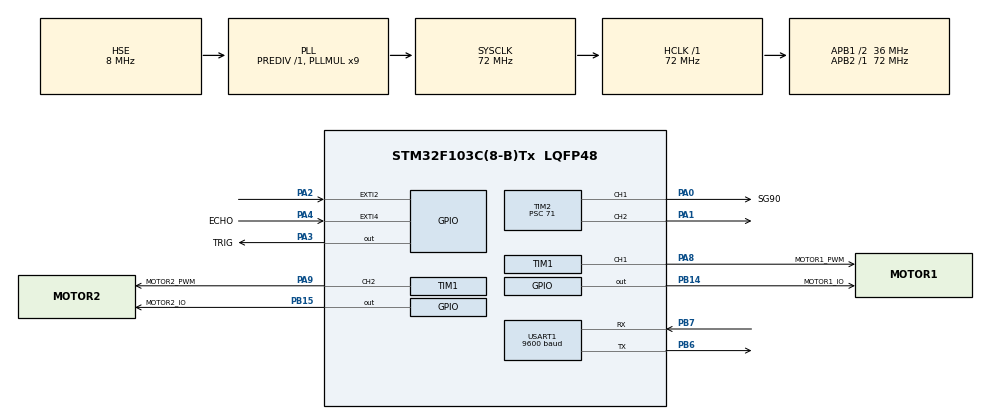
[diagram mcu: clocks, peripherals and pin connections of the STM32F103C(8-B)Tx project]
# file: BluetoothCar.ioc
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Mcu.Family=STM32F1
Mcu.Name=STM32F103C(8-B)Tx
Mcu.Package=LQFP48
NVIC.EXTI4_IRQn=true\:0\:0\:false\:false\:true\:true\:true\:true
NVIC.PriorityGroup=NVIC_PRIORITYGROUP_4
NVIC.USART1_IRQn=true\:1\:0\:true\:false\:true\:true\:true\:true
PA0-WKUP.GPIO_Label=SG90
PA0-WKUP.Signal=S_TIM2_CH1_ETR
PA1.Signal=S_TIM2_CH2
PA13.Mode=Serial_Wire
PA13.Signal=SYS_JTMS-SWDIO
PA14.Mode=Serial_Wire
PA14.Signal=SYS_JTCK-SWCLK
PA2.Signal=GPXTI2
PA3.GPIO_Label=TRIG
PA3.GPIO_PuPd=GPIO_NOPULL
PA3.GPIO_Speed=GPIO_SPEED_FREQ_LOW
PA3.PinState=GPIO_PIN_RESET
PA3.Signal=GPIO_Output
PA4.GPIO_Label=ECHO
PA4.GPIO_ModeDefaultEXTI=GPIO_MODE_IT_RISING_FALLING
PA4.GPIO_PuPd=GPIO_PULLUP
PA4.Signal=GPXTI4
PA8.GPIO_Label=MOTOR1_PWM
PA8.Signal=S_TIM1_CH1
PA9.GPIO_Label=MOTOR2_PWM
PA9.Signal=S_TIM1_CH2
PB14.GPIO_Label=MOTOR1_IO
PB14.Signal=GPIO_Output
PB15.GPIO_Label=MOTOR2_IO
PB15.Signal=GPIO_Output
PB6.Mode=Asynchronous
PB6.Signal=USART1_TX
PB7.Mode=Asynchronous
PB7.Signal=USART1_RX
PD0-OSC_IN.Mode=HSE-External-Oscillator
PD0-OSC_IN.Signal=RCC_OSC_IN
PD1-OSC_OUT.Mode=HSE-External-Oscillator
PD1-OSC_OUT.Signal=RCC_OSC_OUT
ProjectManager.HeapSize=0x200
ProjectManager.StackSize=0x400
ProjectManager.TargetToolchain=MDK-ARM V5.32
RCC.AHBFreq_Value=72000000
RCC.APB1CLKDivider=RCC_HCLK_DIV2
RCC.APB1Freq_Value=36000000
RCC.APB1TimFreq_Value=72000000
RCC.APB2Freq_Value=72000000
RCC.APB2TimFreq_Value=72000000
RCC.HCLKFreq_Value=72000000
RCC.PLLMUL=RCC_PLL_MUL9
RCC.PLLSourceVirtual=RCC_PLLSOURCE_HSE
RCC.SYSCLKFreq_VALUE=72000000
RCC.SYSCLKSource=RCC_SYSCLKSOURCE_PLLCLK
RCC.USBFreq_Value=72000000
SH.S_TIM1_CH1.0=TIM1_CH1,PWM Generation1 CH1
SH.S_TIM1_CH2.0=TIM1_CH2,PWM Generation2 CH2
SH.S_TIM2_CH1_ETR.0=TIM2_CH1,PWM Generation1 CH1
SH.S_TIM2_CH2.0=TIM2_CH2,PWM Generation2 CH2
TIM1.Channel-PWM\ Generation1\ CH1=TIM_CHANNEL_1
TIM1.Channel-PWM\ Generation2\ CH2=TIM_CHANNEL_2
TIM1.Period=999
TIM1.Prescaler=71
TIM2.Channel-PWM\ Generation1\ CH1=TIM_CHANNEL_1
TIM2.Channel-PWM\ Generation2\ CH2=TIM_CHANNEL_2
TIM2.Period=19999
TIM2.Prescaler=71
TIM3.AutoReloadPreload=TIM_AUTORELOAD_PRELOAD_DISABLE
TIM3.Period=65535
TIM3.Prescaler=71
USART1.BaudRate=9600
USART1.VirtualMode=VM_ASYNC
VP_TIM1_VS_ClockSourceINT.Mode=Internal
VP_TIM2_VS_ClockSourceINT.Mode=Internal
VP_TIM3_VS_ClockSourceINT.Mode=Internal
board=custom

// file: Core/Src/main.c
/* USER CODE BEGIN Header */
/**
  ******************************************************************************
  * @file           : main.c
  * @brief          : Main program body
  ******************************************************************************
  * @attention
  *
  * <h2><center>&copy; Copyright (c) 2022 STMicroelectronics.
  * All rights reserved.</center></h2>
  *
  * This software component is licensed by ST under BSD 3-Clause license,
  * the "License"; You may not use this file except in compliance with the
  * License. You may obtain a copy of the License at:
  *                        opensource.org/licenses/BSD-3-Clause
  *
  ******************************************************************************
  */
/* USER CODE END Header */
#include "main.h"

/* USER CODE BEGIN Includes */
#include "Car.h"
#include "servo.h"
#include "ultrasonic.h"

/* USER CODE END Includes */

TIM_HandleTypeDef htim1;
TIM_HandleTypeDef htim2;
TIM_HandleTypeDef htim3;

UART_HandleTypeDef huart1;

void SystemClock_Config(void);
static void MX_GPIO_Init(void);
static void MX_TIM1_Init(void);
static void MX_USART1_UART_Init(void);
static void MX_TIM2_Init(void);
static void MX_TIM3_Init(void);

/* USER CODE BEGIN 0 */
float Distance;

uint8_t data_rx;
uint8_t data_rxC = 'G';
uint8_t uart_flag = 0;
uint8_t car_speed = 75;

float distanceSafe = 25;
float distanceRight;
float distanceLeft;

void HAL_UART_RxCpltCallback(UART_HandleTypeDef *huart)
{
	if(huart->Instance == huart1.Instance)
	{
		uart_flag = 1;
		HAL_UART_Receive_IT(&huart1,&data_rx,1);
		if (data_rx == 'G') data_rxC = 'G';
		if (data_rx == 'H') data_rxC = 'H';
		if (data_rx == 'I') data_rxC = 'I';
	}
}

/* USER CODE END 0 */

int main(void)
{

  /* MCU Configuration--------------------------------------------------------*/

  /* Reset of all peripherals, Initializes the Flash interface and the Systick. */
  HAL_Init();

  /* Configure the system clock */
  SystemClock_Config();

  /* Initialize all configured peripherals */
  MX_GPIO_Init();
  MX_TIM1_Init();
  MX_USART1_UART_Init();
  MX_TIM2_Init();
  MX_TIM3_Init();
  /* USER CODE BEGIN 2 */
	car_init(&htim1);
	HAL_UART_Receive_IT(&huart1,&data_rx,1);

	Servo sv;
	servo_init(&sv,&htim2,TIM_CHANNEL_1);

  /* USER CODE END 2 */

  /* Infinite loop */
  while (1)
  {

    /* USER CODE BEGIN 3 */

		while (data_rxC == 'G') car_control(CAR_STOP_STATE, 0); // waiting state
		while (data_rxC == 'I')
		{
			if(uart_flag)
			{
				switch(data_rx)
				{
					case 'S':
						car_control(CAR_STOP_STATE,0);
						break;
					case 'F':
						car_control(CAR_FORWARD_STATE,car_speed);
						break;
					case 'B':
						car_control(CAR_BACKWARD_STATE,car_speed);
						break;
					case 'L':
						car_control(CAR_LEFT_STATE,car_speed);
						break;
					case 'R':
						car_control(CAR_RIGHT_STATE,car_speed);
						break;
					default:
						if(data_rx >= '0' && data_rx <= '9')
						{
							//0 ->90
							car_speed = (data_rx - '0')*10;
						}
						else if(data_rx =='q')
						{
							car_speed = 100;
						}
						break;

				}
				uart_flag = 0;
			}
		}
		while (data_rxC == 'H')
		{
			Distance = UltrasonicDetect();
			if (Distance > distanceSafe)
				car_control(CAR_FORWARD_STATE, car_speed);
			else
			{
				car_control(CAR_STOP_STATE, 0);
				HAL_Delay(10);
				servo_write(&sv, 45);
				HAL_Delay(1000);
				distanceLeft = UltrasonicDetect();

				servo_write(&sv, 135);
				HAL_Delay(1000);
				distanceRight = UltrasonicDetect();

				servo_write(&sv, 90);

				if ((distanceLeft > distanceRight) && (distanceLeft > distanceSafe))
				{
					car_control(CAR_LEFT_STATE, 100);
					HAL_Delay(500);
				}
				else if ((distanceLeft < distanceRight) && (distanceRight > distanceSafe))
				{
					car_control(CAR_RIGHT_STATE, 100);
					HAL_Delay(500);
				}
				else
				{
					car_control(CAR_BACKWARD_STATE, 75);
					HAL_Delay(500);
				}

				car_control(CAR_STOP_STATE, 0);
				HAL_Delay(50);
			}
		}
  }
  /* USER CODE END 3 */
}

void SystemClock_Config(void)
{
  RCC_OscInitTypeDef RCC_OscInitStruct = {0};
  RCC_ClkInitTypeDef RCC_ClkInitStruct = {0};

  /** Initializes the RCC Oscillators according to the specified parameters
  * in the RCC_OscInitTypeDef structure.
  */
  RCC_OscInitStruct.OscillatorType = RCC_OSCILLATORTYPE_HSE;
  RCC_OscInitStruct.HSEState = RCC_HSE_ON;
  RCC_OscInitStruct.HSEPredivValue = RCC_HSE_PREDIV_DIV1;
  RCC_OscInitStruct.HSIState = RCC_HSI_ON;
  RCC_OscInitStruct.PLL.PLLState = RCC_PLL_ON;
  RCC_OscInitStruct.PLL.PLLSource = RCC_PLLSOURCE_HSE;
  RCC_OscInitStruct.PLL.PLLMUL = RCC_PLL_MUL9;
  if (HAL_RCC_OscConfig(&RCC_OscInitStruct) != HAL_OK)
  {
    Error_Handler();
  }
  /** Initializes the CPU, AHB and APB buses clocks
  */
  RCC_ClkInitStruct.ClockType = RCC_CLOCKTYPE_HCLK|RCC_CLOCKTYPE_SYSCLK
                              |RCC_CLOCKTYPE_PCLK1|RCC_CLOCKTYPE_PCLK2;
  RCC_ClkInitStruct.SYSCLKSource = RCC_SYSCLKSOURCE_PLLCLK;
  RCC_ClkInitStruct.AHBCLKDivider = RCC_SYSCLK_DIV1;
  RCC_ClkInitStruct.APB1CLKDivider = RCC_HCLK_DIV2;
  RCC_ClkInitStruct.APB2CLKDivider = RCC_HCLK_DIV1;

  if (HAL_RCC_ClockConfig(&RCC_ClkInitStruct, FLASH_LATENCY_2) != HAL_OK)
  {
    Error_Handler();
  }
}

static void MX_TIM1_Init(void)
{

  TIM_ClockConfigTypeDef sClockSourceConfig = {0};
  TIM_MasterConfigTypeDef sMasterConfig = {0};
  TIM_OC_InitTypeDef sConfigOC = {0};
  TIM_BreakDeadTimeConfigTypeDef sBreakDeadTimeConfig = {0};

  htim1.Instance = TIM1;
  htim1.Init.Prescaler = 71;
  htim1.Init.CounterMode = TIM_COUNTERMODE_UP;
  htim1.Init.Period = 999;
  htim1.Init.ClockDivision = TIM_CLOCKDIVISION_DIV1;
  htim1.Init.RepetitionCounter = 0;
  htim1.Init.AutoReloadPreload = TIM_AUTORELOAD_PRELOAD_DISABLE;
  if (HAL_TIM_Base_Init(&htim1) != HAL_OK)
  {
    Error_Handler();
  }
  sClockSourceConfig.ClockSource = TIM_CLOCKSOURCE_INTERNAL;
  if (HAL_TIM_ConfigClockSource(&htim1, &sClockSourceConfig) != HAL_OK)
  {
    Error_Handler();
  }
  if (HAL_TIM_PWM_Init(&htim1) != HAL_OK)
  {
    Error_Handler();
  }
  sMasterConfig.MasterOutputTrigger = TIM_TRGO_RESET;
  sMasterConfig.MasterSlaveMode = TIM_MASTERSLAVEMODE_DISABLE;
  if (HAL_TIMEx_MasterConfigSynchronization(&htim1, &sMasterConfig) != HAL_OK)
  {
    Error_Handler();
  }
  sConfigOC.OCMode = TIM_OCMODE_PWM1;
  sConfigOC.Pulse = 0;
  sConfigOC.OCPolarity = TIM_OCPOLARITY_HIGH;
  sConfigOC.OCNPolarity = TIM_OCNPOLARITY_HIGH;
  sConfigOC.OCFastMode = TIM_OCFAST_DISABLE;
  sConfigOC.OCIdleState = TIM_OCIDLESTATE_RESET;
  sConfigOC.OCNIdleState = TIM_OCNIDLESTATE_RESET;
  if (HAL_TIM_PWM_ConfigChannel(&htim1, &sConfigOC, TIM_CHANNEL_1) != HAL_OK)
  {
    Error_Handler();
  }
  if (HAL_TIM_PWM_ConfigChannel(&htim1, &sConfigOC, TIM_CHANNEL_2) != HAL_OK)
  {
    Error_Handler();
  }
  sBreakDeadTimeConfig.OffStateRunMode = TIM_OSSR_DISABLE;
  sBreakDeadTimeConfig.OffStateIDLEMode = TIM_OSSI_DISABLE;
  sBreakDeadTimeConfig.LockLevel = TIM_LOCKLEVEL_OFF;
  sBreakDeadTimeConfig.DeadTime = 0;
  sBreakDeadTimeConfig.BreakState = TIM_BREAK_DISABLE;
  sBreakDeadTimeConfig.BreakPolarity = TIM_BREAKPOLARITY_HIGH;
  sBreakDeadTimeConfig.AutomaticOutput = TIM_AUTOMATICOUTPUT_DISABLE;
  if (HAL_TIMEx_ConfigBreakDeadTime(&htim1, &sBreakDeadTimeConfig) != HAL_OK)
  {
    Error_Handler();
  }
  HAL_TIM_MspPostInit(&htim1);

}

static void MX_TIM2_Init(void)
{

  TIM_ClockConfigTypeDef sClockSourceConfig = {0};
  TIM_MasterConfigTypeDef sMasterConfig = {0};
  TIM_OC_InitTypeDef sConfigOC = {0};

  htim2.Instance = TIM2;
  htim2.Init.Prescaler = 71;
  htim2.Init.CounterMode = TIM_COUNTERMODE_UP;
  htim2.Init.Period = 19999;
  htim2.Init.ClockDivision = TIM_CLOCKDIVISION_DIV1;
  htim2.Init.AutoReloadPreload = TIM_AUTORELOAD_PRELOAD_DISABLE;
  if (HAL_TIM_Base_Init(&htim2) != HAL_OK)
  {
    Error_Handler();
  }
  sClockSourceConfig.ClockSource = TIM_CLOCKSOURCE_INTERNAL;
  if (HAL_TIM_ConfigClockSource(&htim2, &sClockSourceConfig) != HAL_OK)
  {
    Error_Handler();
  }
  if (HAL_TIM_PWM_Init(&htim2) != HAL_OK)
  {
    Error_Handler();
  }
  sMasterConfig.MasterOutputTrigger = TIM_TRGO_RESET;
  sMasterConfig.MasterSlaveMode = TIM_MASTERSLAVEMODE_DISABLE;
  if (HAL_TIMEx_MasterConfigSynchronization(&htim2, &sMasterConfig) != HAL_OK)
  {
    Error_Handler();
  }
  sConfigOC.OCMode = TIM_OCMODE_PWM1;
  sConfigOC.Pulse = 0;
  sConfigOC.OCPolarity = TIM_OCPOLARITY_HIGH;
  sConfigOC.OCFastMode = TIM_OCFAST_DISABLE;
  if (HAL_TIM_PWM_ConfigChannel(&htim2, &sConfigOC, TIM_CHANNEL_1) != HAL_OK)
  {
    Error_Handler();
  }
  if (HAL_TIM_PWM_ConfigChannel(&htim2, &sConfigOC, TIM_CHANNEL_2) != HAL_OK)
  {
    Error_Handler();
  }
  HAL_TIM_MspPostInit(&htim2);

}

static void MX_TIM3_Init(void)
{

  TIM_ClockConfigTypeDef sClockSourceConfig = {0};
  TIM_MasterConfigTypeDef sMasterConfig = {0};

  htim3.Instance = TIM3;
  htim3.Init.Prescaler = 71;
  htim3.Init.CounterMode = TIM_COUNTERMODE_UP;
  htim3.Init.Period = 65535;
  htim3.Init.ClockDivision = TIM_CLOCKDIVISION_DIV1;
  htim3.Init.AutoReloadPreload = TIM_AUTORELOAD_PRELOAD_DISABLE;
  if (HAL_TIM_Base_Init(&htim3) != HAL_OK)
  {
    Error_Handler();
  }
  sClockSourceConfig.ClockSource = TIM_CLOCKSOURCE_INTERNAL;
  if (HAL_TIM_ConfigClockSource(&htim3, &sClockSourceConfig) != HAL_OK)
  {
    Error_Handler();
  }
  sMasterConfig.MasterOutputTrigger = TIM_TRGO_RESET;
  sMasterConfig.MasterSlaveMode = TIM_MASTERSLAVEMODE_DISABLE;
  if (HAL_TIMEx_MasterConfigSynchronization(&htim3, &sMasterConfig) != HAL_OK)
  {
    Error_Handler();
  }

}

static void MX_USART1_UART_Init(void)
{

  huart1.Instance = USART1;
  huart1.Init.BaudRate = 9600;
  huart1.Init.WordLength = UART_WORDLENGTH_8B;
  huart1.Init.StopBits = UART_STOPBITS_1;
  huart1.Init.Parity = UART_PARITY_NONE;
  huart1.Init.Mode = UART_MODE_TX_RX;
  huart1.Init.HwFlowCtl = UART_HWCONTROL_NONE;
  huart1.Init.OverSampling = UART_OVERSAMPLING_16;
  if (HAL_UART_Init(&huart1) != HAL_OK)
  {
    Error_Handler();
  }

}

static void MX_GPIO_Init(void)
{
  GPIO_InitTypeDef GPIO_InitStruct = {0};

  /* GPIO Ports Clock Enable */
  __HAL_RCC_GPIOD_CLK_ENABLE();
  __HAL_RCC_GPIOA_CLK_ENABLE();
  __HAL_RCC_GPIOB_CLK_ENABLE();

  /*Configure GPIO pin Output Level */
  HAL_GPIO_WritePin(TRIG_GPIO_Port, TRIG_Pin, GPIO_PIN_RESET);

  /*Configure GPIO pin Output Level */
  HAL_GPIO_WritePin(GPIOB, MOTOR1_IO_Pin|MOTOR2_IO_Pin, GPIO_PIN_RESET);

  /*Configure GPIO pin : PA2 */
  GPIO_InitStruct.Pin = GPIO_PIN_2;
  GPIO_InitStruct.Mode = GPIO_MODE_IT_RISING;
  GPIO_InitStruct.Pull = GPIO_NOPULL;
  HAL_GPIO_Init(GPIOA, &GPIO_InitStruct);

  /*Configure GPIO pin : TRIG_Pin */
  GPIO_InitStruct.Pin = TRIG_Pin;
  GPIO_InitStruct.Mode = GPIO_MODE_OUTPUT_PP;
  GPIO_InitStruct.Pull = GPIO_NOPULL;
  GPIO_InitStruct.Speed = GPIO_SPEED_FREQ_LOW;
  HAL_GPIO_Init(TRIG_GPIO_Port, &GPIO_InitStruct);

  /*Configure GPIO pin : ECHO_Pin */
  GPIO_InitStruct.Pin = ECHO_Pin;
  GPIO_InitStruct.Mode = GPIO_MODE_IT_RISING_FALLING;
  GPIO_InitStruct.Pull = GPIO_PULLUP;
  HAL_GPIO_Init(ECHO_GPIO_Port, &GPIO_InitStruct);

  /*Configure GPIO pins : MOTOR1_IO_Pin MOTOR2_IO_Pin */
  GPIO_InitStruct.Pin = MOTOR1_IO_Pin|MOTOR2_IO_Pin;
  GPIO_InitStruct.Mode = GPIO_MODE_OUTPUT_PP;
  GPIO_InitStruct.Pull = GPIO_NOPULL;
  GPIO_InitStruct.Speed = GPIO_SPEED_FREQ_LOW;
  HAL_GPIO_Init(GPIOB, &GPIO_InitStruct);

  /* EXTI interrupt init*/
  HAL_NVIC_SetPriority(EXTI4_IRQn, 0, 0);
  HAL_NVIC_EnableIRQ(EXTI4_IRQn);

}

void Error_Handler(void)
{
  __disable_irq();
  while (1)
  {
  }
}

/************************ (C) COPYRIGHT STMicroelectronics *****END OF FILE****/
